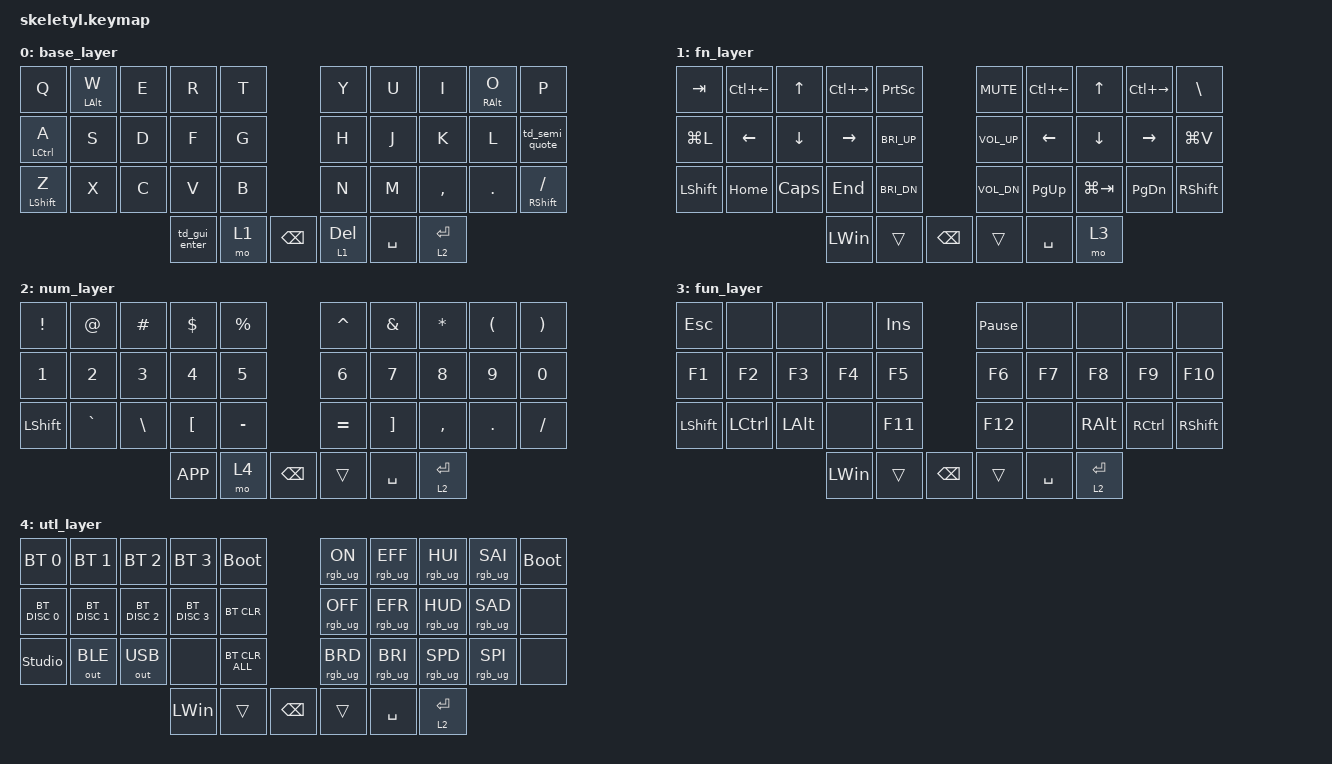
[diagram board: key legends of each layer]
/*
 * Skeletyl (LAYOUT_split_3x5_3, 36 keys) ZMK keymap.
 * Translated from Vial export ll.vil (2023-02-01) - a 34-key
 * LAYOUT_split_3x5_2 map. Positions 32 and 33 are NEW; see README.
 * PTR layer: output toggle, BT clear and BT profiles 0-3 fill dead top-row slots.
 *
 *   0  1  2  3  4        5  6  7  8  9
 *  10 11 12 13 14       15 16 17 18 19
 *  20 21 22 23 24       25 26 27 28 29
 *        30 31 32       33 34 35
 */

#include <behaviors.dtsi>
#include <dt-bindings/zmk/keys.h>
#include <dt-bindings/zmk/bt.h>
#include <dt-bindings/zmk/outputs.h>
#include <dt-bindings/zmk/rgb.h>

#define BASE 0
#define FN   1
#define NUM  2
#define FUN  3
#define UTL  4

&mt {
    flavor = "balanced";
    tapping-term-ms = <250>;
    quick-tap-ms = <175>;
    require-prior-idle-ms = <150>;
};

/ {
behaviors {
        // Tap for SEMI (;), Hold for RCTRL, Double Tap for APOS (')
        td_semi_quote: tap_dance_semi_quote {
            compatible = "zmk,behavior-tap-dance";
            #binding-cells = <0>;
            tapping-term-ms = <250>;
            bindings = <&mt RCTRL SEMI>, <&kp APOS>;
        };
       // Hold = momentary layer, Tap = LGUI. The tiny term lets the tap dance's
       // own 250ms timer be the only real wait before a hold fires.
       lt_fast: lt_fast {
           compatible = "zmk,behavior-hold-tap";
           #binding-cells = <2>;
           flavor = "hold-preferred";
           tapping-term-ms = <10>;
           bindings = <&mo>, <&kp>;
       };

       // Tap = LGUI, Double tap = ENTER, Hold = layer 2
       td_gui_enter: tap_dance_gui_enter {
           compatible = "zmk,behavior-tap-dance";
           #binding-cells = <0>;
           tapping-term-ms = <250>;
           bindings = <&lt_fast 2 LGUI>, <&kp ENTER>;
       };
    };

    keymap {
        compatible = "zmk,keymap";

        base_layer {
            bindings = <
    &kp Q            &mt LALT W       &kp E            &kp R            &kp T              &kp Y            &kp U            &kp I            &mt RALT O       &kp P
    &mt LCTRL A      &kp S            &kp D            &kp F            &kp G              &kp H            &kp J            &kp K            &kp L            &td_semi_quote
    &mt LSHIFT Z     &kp X            &kp C            &kp V            &kp B              &kp N            &kp M            &kp COMMA        &kp DOT          &mt RSHIFT FSLH
                                      &td_gui_enter    &mo 1            &kp BSPC           &lt 1 DEL        &kp SPACE        &lt 2 ENTER
            >;
        };

        fn_layer {
            bindings = <
    &kp TAB          &kp LC(LEFT)     &kp UP           &kp LC(RIGHT)    &kp PSCRN          &kp C_MUTE       &kp LC(LEFT)     &kp UP           &kp LC(RIGHT)    &kp BSLH
    &kp LG(L)        &kp LEFT         &kp DOWN         &kp RIGHT        &kp C_BRI_UP       &kp C_VOL_UP     &kp LEFT         &kp DOWN         &kp RIGHT        &kp LG(V)
    &kp LSHIFT       &kp HOME         &kp CAPS         &kp END          &kp C_BRI_DN       &kp C_VOL_DN     &kp PG_UP        &kp LG(TAB)      &kp PG_DN        &kp RSHIFT
                                      &kp LWIN         &trans           &kp BSPC           &trans           &kp SPACE        &mo 3
            >;
        };

        num_layer {
            bindings = <
    &kp EXCL          &kp AT          &kp HASH         &kp DOLLAR       &kp PERCENT        &kp CARET        &kp AMPS         &kp ASTERISK     &kp LPAR         &kp RPAR
    &kp N1            &kp N2          &kp N3           &kp N4           &kp N5             &kp N6           &kp N7           &kp N8           &kp N9           &kp N0
    &kp LSHIFT        &kp GRAVE       &kp BSLH         &kp LBKT         &kp MINUS          &kp EQUAL        &kp RBKT         &kp COMMA        &kp DOT          &kp FSLH
                                      &kp K_APP        &mo 4            &kp BSPC           &trans           &kp SPACE        &lt 2 ENTER
            >;
        };

        fun_layer {
            bindings = <
    &kp ESC          &none            &none            &none            &kp INS            &kp PAUSE_BREAK  &none            &none           &none             &none
    &kp F1           &kp F2           &kp F3           &kp F4           &kp F5             &kp F6           &kp F7           &kp F8          &kp F9            &kp F10
    &kp LSHIFT       &kp LCTRL        &kp LALT         &none            &kp F11            &kp F12          &none            &kp RALT        &kp RCTRL         &kp RSHIFT
                                      &kp LWIN         &trans           &kp BSPC           &trans           &kp SPACE        &lt 2 ENTER
            >;
        };

        utl_layer {
            bindings = <
    &bt BT_SEL 0     &bt BT_SEL 1     &bt BT_SEL 2     &bt BT_SEL 3     &bootloader        &rgb_ug RGB_ON   &rgb_ug RGB_EFF  &rgb_ug RGB_HUI  &rgb_ug RGB_SAI  &bootloader
    &bt BT_DISC 0    &bt BT_DISC 1    &bt BT_DISC 2    &bt BT_DISC 3    &bt BT_CLR         &rgb_ug RGB_OFF  &rgb_ug RGB_EFR  &rgb_ug RGB_HUD  &rgb_ug RGB_SAD  &none
    &studio_unlock   &out OUT_BLE     &out OUT_USB     &none            &bt BT_CLR_ALL     &rgb_ug RGB_BRD  &rgb_ug RGB_BRI  &rgb_ug RGB_SPD  &rgb_ug RGB_SPI  &none
                                      &kp LWIN         &trans           &kp BSPC           &trans           &kp SPACE        &lt 2 ENTER
            >;
        };
        studio1_layer {
            status = "reserved";
        };
        studio2_layer {
            status = "reserved";
        };
        studio3_layer {
            status = "reserved";
        };
        studio4_layer {
            status = "reserved";
        };
    };
};
